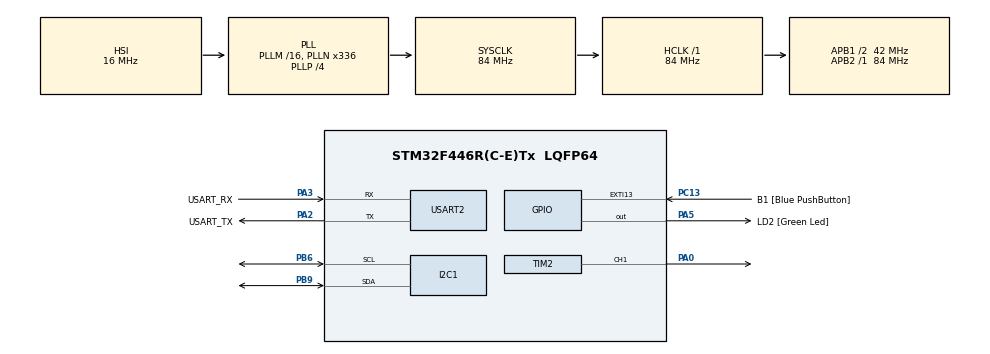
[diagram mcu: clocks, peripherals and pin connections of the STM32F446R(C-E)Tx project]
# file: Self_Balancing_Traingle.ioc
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Mcu.Family=STM32F4
Mcu.Name=STM32F446R(C-E)Tx
Mcu.Package=LQFP64
NVIC.EXTI15_10_IRQn=true\:0\:0\:false\:false\:true\:true\:true\:true
NVIC.PriorityGroup=NVIC_PRIORITYGROUP_0
NVIC.TIM1_UP_TIM10_IRQn=true\:0\:0\:false\:false\:true\:true\:true\:true
NVIC.TIM6_DAC_IRQn=true\:0\:0\:false\:false\:true\:true\:true\:true
NVIC.TIM7_IRQn=true\:0\:0\:false\:false\:true\:true\:true\:true
PA0-WKUP.Signal=S_TIM2_CH1_ETR
PA13.GPIO_Label=TMS
PA13.Mode=Serial_Wire
PA13.Signal=SYS_JTMS-SWDIO
PA14.GPIO_Label=TCK
PA14.Mode=Serial_Wire
PA14.Signal=SYS_JTCK-SWCLK
PA2.GPIO_Label=USART_TX
PA2.Mode=Asynchronous
PA2.Signal=USART2_TX
PA3.GPIO_Label=USART_RX
PA3.Mode=Asynchronous
PA3.Signal=USART2_RX
PA5.GPIO_Label=LD2 [Green Led]
PA5.Signal=GPIO_Output
PB3.GPIO_Label=SWO
PB3.Signal=SYS_JTDO-SWO
PB6.Mode=I2C
PB6.Signal=I2C1_SCL
PB9.Mode=I2C
PB9.Signal=I2C1_SDA
PC13.GPIO_Label=B1 [Blue PushButton]
PC13.GPIO_ModeDefaultEXTI=GPIO_MODE_IT_FALLING
PC13.Signal=GPXTI13
PC14-OSC32_IN.Mode=LSE-External-Oscillator
PC14-OSC32_IN.Signal=RCC_OSC32_IN
PC15-OSC32_OUT.Mode=LSE-External-Oscillator
PC15-OSC32_OUT.Signal=RCC_OSC32_OUT
PH0-OSC_IN.Mode=HSE-External-Oscillator
PH0-OSC_IN.Signal=RCC_OSC_IN
PH1-OSC_OUT.Mode=HSE-External-Oscillator
PH1-OSC_OUT.Signal=RCC_OSC_OUT
ProjectManager.HeapSize=0x200
ProjectManager.StackSize=0x400
ProjectManager.TargetToolchain=STM32CubeIDE
RCC.48MHZClocksFreq_Value=84000000
RCC.AHBFreq_Value=84000000
RCC.APB1CLKDivider=RCC_HCLK_DIV2
RCC.APB1Freq_Value=42000000
RCC.APB1TimFreq_Value=84000000
RCC.APB2Freq_Value=84000000
RCC.APB2TimFreq_Value=84000000
RCC.CortexFreq_Value=84000000
RCC.FLatency-AdvancedSettings=FLASH_LATENCY_2
RCC.HCLKFreq_Value=84000000
RCC.HSE_VALUE=8000000
RCC.HSI_VALUE=16000000
RCC.PLLN=336
RCC.PLLP=RCC_PLLP_DIV4
RCC.SYSCLKFreq_VALUE=84000000
RCC.SYSCLKSource=RCC_SYSCLKSOURCE_PLLCLK
RCC.USBFreq_Value=168000000
RCC.VCOOutputFreq_Value=336000000
SH.S_TIM2_CH1_ETR.0=TIM2_CH1,PWM Generation1 CH1
TIM10.Prescaler=8399
TIM2.Channel-PWM\ Generation1\ CH1=TIM_CHANNEL_1
TIM2.Period=4200
TIM6.Period=49
TIM6.Prescaler=8399
TIM7.Period=24
TIM7.Prescaler=8399
USART2.VirtualMode=VM_ASYNC
VP_TIM10_VS_ClockSourceINT.Mode=Enable_Timer
VP_TIM6_VS_ClockSourceINT.Mode=Enable_Timer
VP_TIM7_VS_ClockSourceINT.Mode=Enable_Timer
board=NUCLEO-F446RE

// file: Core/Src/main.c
/* USER CODE BEGIN Header */
/**
  ******************************************************************************
  * @file           : main.c
  * @brief          : Main program body
  ******************************************************************************
  * @attention
  *
  * Copyright (c) 2024 STMicroelectronics.
  * All rights reserved.
  *
  * This software is licensed under terms that can be found in the LICENSE file
  * in the root directory of this software component.
  * If no LICENSE file comes with this software, it is provided AS-IS.
  *
  ******************************************************************************
  */
/* USER CODE END Header */

/* USER CODE BEGIN Includes */
#include "main.h"
#include <string.h>
#include <stdio.h>
#include <math.h>
/* USER CODE END Includes */

I2C_HandleTypeDef hi2c1;

TIM_HandleTypeDef htim2;
TIM_HandleTypeDef htim6;
TIM_HandleTypeDef htim7;
TIM_HandleTypeDef htim10;

UART_HandleTypeDef huart2;

void SystemClock_Config(void);
static void MX_GPIO_Init(void);
static void MX_USART2_UART_Init(void);
static void MX_I2C1_Init(void);
static void MX_TIM6_Init(void);
static void MX_TIM2_Init(void);
static void MX_TIM7_Init(void);
static void MX_TIM10_Init(void);
/* USER CODE BEGIN PFP */

static void MX_GPIO_Init(void);
static void MX_USART2_UART_Init(void);
static void MX_I2C1_Init(void);

float Q_angle = 0.001; // Varianza del processo (rumore del giroscopio)
float Q_bias = 0.003;  // Varianza del bias del giroscopio
float R_measure = 0.01;; // Varianza della misura (rumore dell'accelerometro)

float angle = 0.0;     // Angolo stimato
float bias = 0.0;      // Bias stimato del giroscopio
float rate = 0.0;      // Velocità angolare
float P[2][2] = {{0, 0}, {0, 0}}; // Matrice di covarianza
uint8_t Rec_Data1[12];
// Taratura MPU6050
float OaX = 0.044043;
float OaY = -0.044824;
float OaZ = -0.907459;
float OgY = 2.896325;
volatile float Ax,Ay,Az,Gx,Gy,Gz;
float Pitch_Accel = 0, Pitch_Gyro = 0, Pitch = 0;

// Variabili PID
float Kp =30, Ki = 0.1, Kd = 0.5; // Coefficienti PID (da regolare)
float error = 0.0, prev_error = 0.0;
float integral = 0.0, derivative = 0.0,proportional = 0.0;
float prev_pid_output = 0.0;
float dt_pid = 0.005;
float pid_output = 0.0;
uint16_t ccr = 4200;

/* USER CODE END PFP */

/* USER CODE BEGIN 0 */
float KalmanFilter(float newAngle, float newRate, float dt) {
    // Predizione
    rate = newRate - bias;
    angle += dt * rate;

    P[0][0] += dt * (dt * P[1][1] - P[0][1] - P[1][0] + Q_angle);
    P[0][1] -= dt * P[1][1];
    P[1][0] -= dt * P[1][1];
    P[1][1] += Q_bias * dt;

    // Aggiornamento
    float y = newAngle - angle;  // Residuo (errore)
    float S = P[0][0] + R_measure; // Innovazione
    float K[2];  // Guadagni di Kalman
    K[0] = P[0][0] / S;
    K[1] = P[1][0] / S;

    angle += K[0] * y;
    bias += K[1] * y;

    // Aggiorna covarianza
    float P00_temp = P[0][0];
    float P01_temp = P[0][1];
    P[0][0] -= K[0] * P00_temp;
    P[0][1] -= K[0] * P01_temp;
    P[1][0] -= K[1] * P00_temp;
    P[1][1] -= K[1] * P01_temp;

    return angle;
}
void MPU6050_Init(void)
{
    uint8_t check;
    check = 0;
    uint8_t Data;

    HAL_I2C_Mem_Read(&hi2c1, MPU6050_ADDRESS, WHO_AM_I_REG, 1, &check, 1, HAL_MAX_DELAY);

    if (check == 104)  // 0x68
    {
        Data = 0;
        HAL_I2C_Mem_Write(&hi2c1, MPU6050_ADDRESS, PWR_MGMT_1_REG, 1, &Data, 1, 1000);

        Data = 0x07;
        HAL_I2C_Mem_Write(&hi2c1, MPU6050_ADDRESS, SMPLRT_DIV_REG, 1, &Data, 1, 1000);

        Data = 0x00;
        HAL_I2C_Mem_Write(&hi2c1, MPU6050_ADDRESS, ACCEL_CONFIG_REG, 1, &Data, 1, 1000);

        Data = 0x00;
        HAL_I2C_Mem_Write(&hi2c1, MPU6050_ADDRESS, GYRO_CONFIG_REG, 1, &Data, 1, 1000);
    }
}

void MPU6050_Read_Accel(){

	    HAL_I2C_Mem_Read(&hi2c1, MPU6050_ADDRESS, ACCEL_XOUT_H_REG, 1, Rec_Data1, 6, HAL_MAX_DELAY);
	    Ax = (int16_t)(Rec_Data1[0] << 8 | Rec_Data1 [1])/16384.0;;
	    Ay = (int16_t)(Rec_Data1[2] << 8 | Rec_Data1 [3])/16384.0;;
	    Az = (int16_t)(Rec_Data1[4] << 8 | Rec_Data1 [5])/16384.0;;
	   	Gy = (int16_t)(Rec_Data1[10] << 8 | Rec_Data1 [11])/131.0;;
}

double CalcolaPitch(double Ax, double Ay, double Az, double Gy) {
    double A_x = Ax - OaX;
    double A_y = Ay - OaY;
    double A_z = Az - OaZ;

    // Angolo calcolato dall'accelerometro
    double pitch_accel = atan2(A_x, sqrt(A_y * A_y + A_z * A_z)) * (180.0 / M_PI);

    // Tempo di campionamento
    float dt = 0.0025; // Assumi 2.5 ms di campionamento (Timer7 interrupt)

    // Stima dell'angolo con il filtro di Kalman
    Pitch = KalmanFilter(pitch_accel, Gy, dt);

    return Pitch;
}
void HAL_TIM_PeriodElapsedCallback(TIM_HandleTypeDef *htim)
{
	if (htim->Instance == TIM10){
		MPU6050_Read_Accel();
	}
	else if (htim->Instance == TIM7){
		Pitch = CalcolaPitch(Ax, Ay, Az, Gy)+1.5;
	}
	else if (htim->Instance == TIM6) // Controlla che sia Timer6
	    {
	        // Calcola l'errore tra il pitch e il setpoint (0.15 o 0)
	        error = 0.15 - Pitch;  // Setpoint = 0.15
	        // Proporzionale
	        proportional = Kp * error;
	        // Modifica della parte integrale del PID per evitare il windup
	        if (fabs(error) < 0.05) {  // Se l'errore è molto piccolo, disabilita l'integrazione
	            integral = 0;
	        } else {
	            integral += Ki * error *dt_pid ; // Aggiorna solo se l'errore è abbastanza grande
	        }
	        if (integral > 40.0) integral = 40.0;
	        if (integral < -40.0) integral = -40.0;
	        // Derivativo
	        derivative = Kd * (error - prev_error) / dt_pid;
	        // Calcolo uscita PID
	        pid_output = proportional + integral + derivative;
	        // Aggiorna errore precedente
	        prev_error = error;
	        // Se il valore di PID è negativo, aziona il motore per bilanciare
	        if (pid_output < 0) {
	            HAL_GPIO_WritePin(GPIOA, GPIO_PIN_5, GPIO_PIN_SET);  // Aziona il motore
	        } else {
	            HAL_GPIO_WritePin(GPIOA, GPIO_PIN_5, GPIO_PIN_RESET);  // Disattiva il motore
	        }
	        // Limiti dell'output PID
	        if (pid_output > 100) {
	            pid_output = 100;
	        } else if (pid_output < -100) {
	            pid_output = -100;
	        }
	        // Imposta il ciclo di lavoro PWM
	        ccr = (uint16_t)((100.0 - fabs(pid_output)) / 100.0 * 4200);
	        __HAL_TIM_SET_COMPARE(&htim2, TIM_CHANNEL_1, ccr);
	    }
	}
/* USER CODE END 0 */

int main(void)
{

  /* USER CODE BEGIN 1 */
	MPU6050_Init();
  /* USER CODE END 1 */

  /* MCU Configuration--------------------------------------------------------*/

  /* Reset of all peripherals, Initializes the Flash interface and the Systick. */
  HAL_Init();

  /* Configure the system clock */
  SystemClock_Config();

  /* Initialize all configured peripherals */
  MX_GPIO_Init();
  MX_USART2_UART_Init();
  MX_I2C1_Init();
  MX_TIM6_Init();
  MX_TIM2_Init();
  MX_TIM7_Init();
  MX_TIM10_Init();
  /* USER CODE BEGIN 2 */

  char msg[120];
  /* USER CODE END 2 */

  /* Infinite loop */
  /* USER CODE BEGIN WHILE */
  while (1)
  {
	   sprintf(msg, "Pitch: %f, Pid Output: %f\n", Pitch, pid_output);
	   	    HAL_UART_Transmit(&huart2, (uint8_t*)msg, strlen(msg), 1000);
	   	    HAL_Delay(10);

    /* USER CODE END WHILE */

  }
}

void SystemClock_Config(void)
{
  RCC_OscInitTypeDef RCC_OscInitStruct = {0};
  RCC_ClkInitTypeDef RCC_ClkInitStruct = {0};

  /** Configure the main internal regulator output voltage
  */
  __HAL_RCC_PWR_CLK_ENABLE();
  __HAL_PWR_VOLTAGESCALING_CONFIG(PWR_REGULATOR_VOLTAGE_SCALE3);

  /** Initializes the RCC Oscillators according to the specified parameters
  * in the RCC_OscInitTypeDef structure.
  */
  RCC_OscInitStruct.OscillatorType = RCC_OSCILLATORTYPE_HSI;
  RCC_OscInitStruct.HSIState = RCC_HSI_ON;
  RCC_OscInitStruct.HSICalibrationValue = RCC_HSICALIBRATION_DEFAULT;
  RCC_OscInitStruct.PLL.PLLState = RCC_PLL_ON;
  RCC_OscInitStruct.PLL.PLLSource = RCC_PLLSOURCE_HSI;
  RCC_OscInitStruct.PLL.PLLM = 16;
  RCC_OscInitStruct.PLL.PLLN = 336;
  RCC_OscInitStruct.PLL.PLLP = RCC_PLLP_DIV4;
  RCC_OscInitStruct.PLL.PLLQ = 2;
  RCC_OscInitStruct.PLL.PLLR = 2;
  if (HAL_RCC_OscConfig(&RCC_OscInitStruct) != HAL_OK)
  {
    Error_Handler();
  }

  /** Initializes the CPU, AHB and APB buses clocks
  */
  RCC_ClkInitStruct.ClockType = RCC_CLOCKTYPE_HCLK|RCC_CLOCKTYPE_SYSCLK
                              |RCC_CLOCKTYPE_PCLK1|RCC_CLOCKTYPE_PCLK2;
  RCC_ClkInitStruct.SYSCLKSource = RCC_SYSCLKSOURCE_PLLCLK;
  RCC_ClkInitStruct.AHBCLKDivider = RCC_SYSCLK_DIV1;
  RCC_ClkInitStruct.APB1CLKDivider = RCC_HCLK_DIV2;
  RCC_ClkInitStruct.APB2CLKDivider = RCC_HCLK_DIV1;

  if (HAL_RCC_ClockConfig(&RCC_ClkInitStruct, FLASH_LATENCY_2) != HAL_OK)
  {
    Error_Handler();
  }
}

static void MX_I2C1_Init(void)
{

  hi2c1.Instance = I2C1;
  hi2c1.Init.ClockSpeed = 100000;
  hi2c1.Init.DutyCycle = I2C_DUTYCYCLE_2;
  hi2c1.Init.OwnAddress1 = 0;
  hi2c1.Init.AddressingMode = I2C_ADDRESSINGMODE_7BIT;
  hi2c1.Init.DualAddressMode = I2C_DUALADDRESS_DISABLE;
  hi2c1.Init.OwnAddress2 = 0;
  hi2c1.Init.GeneralCallMode = I2C_GENERALCALL_DISABLE;
  hi2c1.Init.NoStretchMode = I2C_NOSTRETCH_DISABLE;
  if (HAL_I2C_Init(&hi2c1) != HAL_OK)
  {
    Error_Handler();
  }

}

static void MX_TIM2_Init(void)
{

  TIM_MasterConfigTypeDef sMasterConfig = {0};
  TIM_OC_InitTypeDef sConfigOC = {0};

  htim2.Instance = TIM2;
  htim2.Init.Prescaler = 0;
  htim2.Init.CounterMode = TIM_COUNTERMODE_UP;
  htim2.Init.Period = 4200;
  htim2.Init.ClockDivision = TIM_CLOCKDIVISION_DIV1;
  htim2.Init.AutoReloadPreload = TIM_AUTORELOAD_PRELOAD_DISABLE;
  if (HAL_TIM_PWM_Init(&htim2) != HAL_OK)
  {
    Error_Handler();
  }
  sMasterConfig.MasterOutputTrigger = TIM_TRGO_RESET;
  sMasterConfig.MasterSlaveMode = TIM_MASTERSLAVEMODE_DISABLE;
  if (HAL_TIMEx_MasterConfigSynchronization(&htim2, &sMasterConfig) != HAL_OK)
  {
    Error_Handler();
  }
  sConfigOC.OCMode = TIM_OCMODE_PWM1;
  sConfigOC.Pulse = 0;
  sConfigOC.OCPolarity = TIM_OCPOLARITY_HIGH;
  sConfigOC.OCFastMode = TIM_OCFAST_DISABLE;
  if (HAL_TIM_PWM_ConfigChannel(&htim2, &sConfigOC, TIM_CHANNEL_1) != HAL_OK)
  {
    Error_Handler();
  }
  HAL_TIM_MspPostInit(&htim2);

}

static void MX_TIM6_Init(void)
{

  TIM_MasterConfigTypeDef sMasterConfig = {0};

  htim6.Instance = TIM6;
  htim6.Init.Prescaler = 8399;
  htim6.Init.CounterMode = TIM_COUNTERMODE_UP;
  htim6.Init.Period = 49;
  htim6.Init.AutoReloadPreload = TIM_AUTORELOAD_PRELOAD_DISABLE;
  if (HAL_TIM_Base_Init(&htim6) != HAL_OK)
  {
    Error_Handler();
  }
  sMasterConfig.MasterOutputTrigger = TIM_TRGO_RESET;
  sMasterConfig.MasterSlaveMode = TIM_MASTERSLAVEMODE_DISABLE;
  if (HAL_TIMEx_MasterConfigSynchronization(&htim6, &sMasterConfig) != HAL_OK)
  {
    Error_Handler();
  }

}

static void MX_TIM7_Init(void)
{

  TIM_MasterConfigTypeDef sMasterConfig = {0};

  htim7.Instance = TIM7;
  htim7.Init.Prescaler = 8399;
  htim7.Init.CounterMode = TIM_COUNTERMODE_UP;
  htim7.Init.Period = 24;
  htim7.Init.AutoReloadPreload = TIM_AUTORELOAD_PRELOAD_DISABLE;
  if (HAL_TIM_Base_Init(&htim7) != HAL_OK)
  {
    Error_Handler();
  }
  sMasterConfig.MasterOutputTrigger = TIM_TRGO_RESET;
  sMasterConfig.MasterSlaveMode = TIM_MASTERSLAVEMODE_DISABLE;
  if (HAL_TIMEx_MasterConfigSynchronization(&htim7, &sMasterConfig) != HAL_OK)
  {
    Error_Handler();
  }

}

static void MX_TIM10_Init(void)
{

  htim10.Instance = TIM10;
  htim10.Init.Prescaler = 8399;
  htim10.Init.CounterMode = TIM_COUNTERMODE_UP;
  htim10.Init.Period = 19;
  htim10.Init.ClockDivision = TIM_CLOCKDIVISION_DIV1;
  htim10.Init.AutoReloadPreload = TIM_AUTORELOAD_PRELOAD_DISABLE;
  if (HAL_TIM_Base_Init(&htim10) != HAL_OK)
  {
    Error_Handler();
  }

}

static void MX_USART2_UART_Init(void)
{

  huart2.Instance = USART2;
  huart2.Init.BaudRate = 115200;
  huart2.Init.WordLength = UART_WORDLENGTH_8B;
  huart2.Init.StopBits = UART_STOPBITS_1;
  huart2.Init.Parity = UART_PARITY_NONE;
  huart2.Init.Mode = UART_MODE_TX_RX;
  huart2.Init.HwFlowCtl = UART_HWCONTROL_NONE;
  huart2.Init.OverSampling = UART_OVERSAMPLING_16;
  if (HAL_UART_Init(&huart2) != HAL_OK)
  {
    Error_Handler();
  }

}

static void MX_GPIO_Init(void)
{
  GPIO_InitTypeDef GPIO_InitStruct = {0};

  /* GPIO Ports Clock Enable */
  __HAL_RCC_GPIOC_CLK_ENABLE();
  __HAL_RCC_GPIOH_CLK_ENABLE();
  __HAL_RCC_GPIOA_CLK_ENABLE();
  __HAL_RCC_GPIOB_CLK_ENABLE();

  /*Configure GPIO pin Output Level */
  HAL_GPIO_WritePin(LD2_GPIO_Port, LD2_Pin, GPIO_PIN_RESET);

  /*Configure GPIO pin : B1_Pin */
  GPIO_InitStruct.Pin = B1_Pin;
  GPIO_InitStruct.Mode = GPIO_MODE_IT_FALLING;
  GPIO_InitStruct.Pull = GPIO_NOPULL;
  HAL_GPIO_Init(B1_GPIO_Port, &GPIO_InitStruct);

  /*Configure GPIO pin : LD2_Pin */
  GPIO_InitStruct.Pin = LD2_Pin;
  GPIO_InitStruct.Mode = GPIO_MODE_OUTPUT_PP;
  GPIO_InitStruct.Pull = GPIO_NOPULL;
  GPIO_InitStruct.Speed = GPIO_SPEED_FREQ_LOW;
  HAL_GPIO_Init(LD2_GPIO_Port, &GPIO_InitStruct);

  /* EXTI interrupt init*/
  HAL_NVIC_SetPriority(EXTI15_10_IRQn, 0, 0);
  HAL_NVIC_EnableIRQ(EXTI15_10_IRQn);

}

void Error_Handler(void)
{
  __disable_irq();
  while (1)
  {
  }
}
